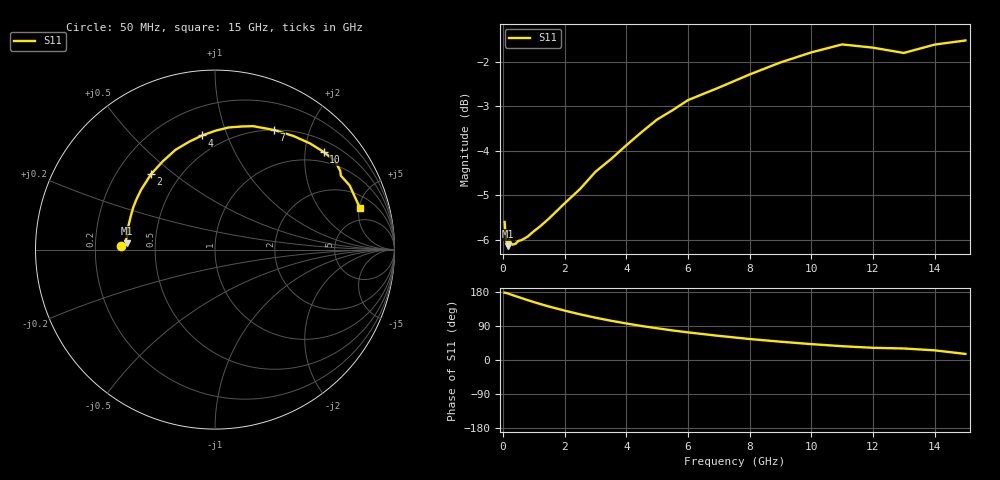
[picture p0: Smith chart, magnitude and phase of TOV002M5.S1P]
! SIEMENS Small Signal Semiconductors
! BAT15-03W
! Si Schottky Diode in SOD323
! IF = 2.5 mA
! S-Parameters:  May  1996
# GHz  S  MA  R  50
!  f  S11
! GHz  MAG  ANG
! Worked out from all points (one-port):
!   31 points, 50 MHz to 15 GHz, reference 50 ohm
!   lowest |S11| = -6.1 dB at 150 MHz (marker M1), VSWR 2.94, Z = 17 + j1.62 ohm
!   |S11| at or under -10 dB: nowhere
!   S11 on the Smith chart (normalised r, x): 50 MHz: 0.31, +0.02; 2 GHz: 0.35, +0.42; 4 GHz: 0.38, +0.82; 7 GHz: 0.50, +1.49; 10 GHz: 0.75, +2.41; 15 GHz: 3.25, +5.11
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0.05  0.5249 177.6
0.1  0.5008 176.9
0.15  0.4929 175.8
0.2  0.501 174.3
0.3  0.4948 171.5
0.4  0.4959 168.7
0.5  0.4997 166.1
0.8  0.5054 158.0
1  0.5124 152.8
1.5  0.53 140.9
2  0.5509 130.3
2.5  0.5717 120.5
3  0.5978 111.6
3.5  0.6176 103.6
4  0.6402 96.4
4.5  0.6627 89.7
5  0.6845 83.7
5.5  0.7011 78.0
6  0.7197 72.9
7  0.7434 63.7
8  0.7691 55.4
9  0.7934 48.3
10  0.8143 41.9
11  0.8314 36.4
12  0.8244 32.2
13  0.8132 30.4
14  0.8309 25.5
15  0.8399 16.0
